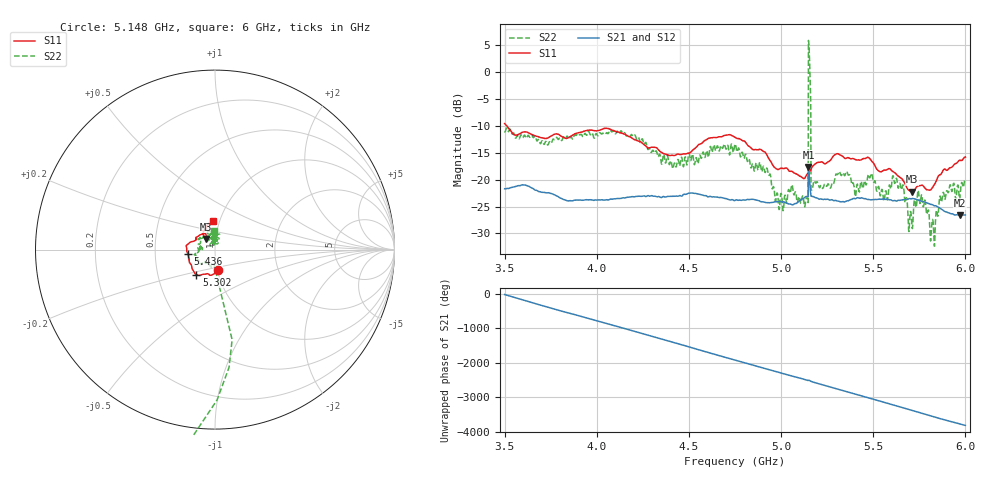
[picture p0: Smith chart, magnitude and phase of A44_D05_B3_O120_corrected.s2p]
! Created with skrf 1.9.0 (http://scikit-rf.org).
# Hz S RI R 50.0
!freq ReS11 ImS11 ReS21 ImS21 ReS12 ImS12 ReS22 ImS22
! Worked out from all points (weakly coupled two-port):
!   1601 points, 3.5 GHz to 6 GHz, reference 50 ohm
!   highest |S21| = -17.65 dB at 5.148 GHz (marker M1); lowest = -26.6 dB at 5.97 GHz (marker M2)
!   lowest |S11| = -22.2 dB at 5.711 GHz (marker M3), VSWR 1.17, Z = 45 + j5.38 ohm
!   |S11| at or under -10 dB: 3.512 GHz to end of sweep
!   |S22| runs from -32.4 to 5.9 dB; largest |S21 - S12| = 0.0014
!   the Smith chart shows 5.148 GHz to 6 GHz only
!   S11 on the Smith chart (normalised r, x): 5.148 GHz: 1.00, -0.23; 5.302 GHz: 0.78, -0.23; 5.436 GHz: 0.74, -0.03; 6 GHz: 0.93, +0.31
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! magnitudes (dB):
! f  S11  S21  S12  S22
! 3.5 GHz  -9.6  -21.7  -21.7  -11.1
! 3.917 GHz  -11.2  -23.8  -23.8  -11.6
! 4.141 GHz  -11.4  -23.4  -23.3  -11.4
! 4.334 GHz  -14.4  -23.1  -23.1  -15.7
! 4.75 GHz  -12.1  -23.9  -23.8  -13.4
! 4.93 GHz  -15.9  -24.3  -24.2  -18.8
! 4.981 GHz  -18.1  -24.1  -24.0  -22.7
! 5.134 GHz  -19.4  -23.1  -23.1  -23.8
! 5.148 GHz  -18.7  -17.6  -17.6  5.9
! 5.161 GHz  -18.2  -22.6  -22.5  -5.8
! 5.167 GHz  -17.7  -23.1  -23.0  -22.0
! 5.175 GHz  -17.4  -23.1  -23.1  -20.7
! 5.302 GHz  -15.2  -23.9  -23.8  -19.0
! 5.436 GHz  -16.3  -23.4  -23.3  -20.4
! 5.584 GHz  -17.9  -23.7  -23.7  -21.6
! 5.653 GHz  -19.7  -23.8  -23.7  -21.9
! 5.711 GHz  -22.2  -23.5  -23.4  -28.9
! 5.753 GHz  -21.1  -23.9  -23.8  -24.4
! 5.822 GHz  -21.4  -24.7  -24.6  -27.4
! 5.87 GHz  -18.9  -25.5  -25.4  -24.2
! 5.97 GHz  -16.4  -26.6  -26.5  -23.4
! 6 GHz  -15.8  -26.6  -26.5  -19.9
